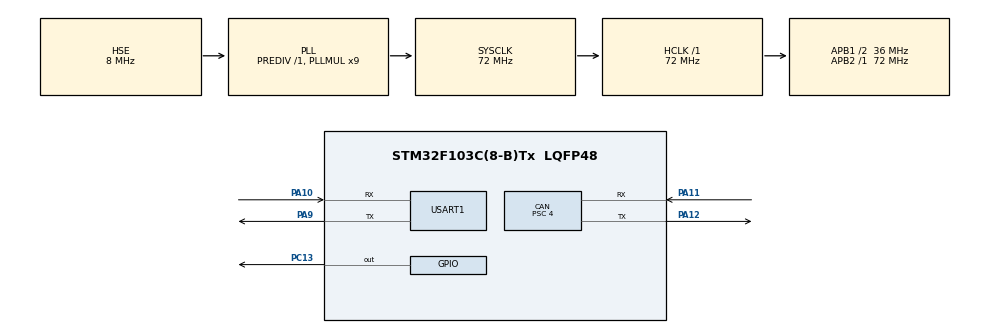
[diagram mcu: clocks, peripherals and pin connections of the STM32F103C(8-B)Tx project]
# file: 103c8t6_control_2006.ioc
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CAN.ABOM=ENABLE
CAN.AWUM=ENABLE
CAN.BS1=CAN_BS1_5TQ
CAN.BS2=CAN_BS2_3TQ
CAN.CalculateBaudRate=1000000
CAN.CalculateTimeBit=1000
CAN.CalculateTimeQuantum=111.11111111111111
CAN.NART=ENABLE
CAN.Prescaler=4
Mcu.Family=STM32F1
Mcu.Name=STM32F103C(8-B)Tx
Mcu.Package=LQFP48
NVIC.PriorityGroup=NVIC_PRIORITYGROUP_4
NVIC.USART1_IRQn=true\:0\:0\:true\:false\:true\:true\:true\:true
NVIC.USB_HP_CAN1_TX_IRQn=true\:2\:0\:true\:false\:true\:true\:true\:true
NVIC.USB_LP_CAN1_RX0_IRQn=true\:2\:0\:true\:false\:true\:true\:true\:true
PA10.Mode=Asynchronous
PA10.Signal=USART1_RX
PA11.Mode=CAN_Activate
PA11.Signal=CAN_RX
PA12.Mode=CAN_Activate
PA12.Signal=CAN_TX
PA13.Mode=Serial_Wire
PA13.Signal=SYS_JTMS-SWDIO
PA14.Mode=Serial_Wire
PA14.Signal=SYS_JTCK-SWCLK
PA9.Mode=Asynchronous
PA9.Signal=USART1_TX
PC13-TAMPER-RTC.Signal=GPIO_Output
PD0-OSC_IN.Mode=HSE-External-Oscillator
PD0-OSC_IN.Signal=RCC_OSC_IN
PD1-OSC_OUT.Mode=HSE-External-Oscillator
PD1-OSC_OUT.Signal=RCC_OSC_OUT
ProjectManager.HeapSize=0x200
ProjectManager.StackSize=0x400
ProjectManager.TargetToolchain=MDK-ARM V5
RCC.AHBFreq_Value=72000000
RCC.APB1CLKDivider=RCC_HCLK_DIV2
RCC.APB1Freq_Value=36000000
RCC.APB1TimFreq_Value=72000000
RCC.APB2Freq_Value=72000000
RCC.APB2TimFreq_Value=72000000
RCC.HCLKFreq_Value=72000000
RCC.PLLMUL=RCC_PLL_MUL9
RCC.PLLSourceVirtual=RCC_PLLSOURCE_HSE
RCC.SYSCLKFreq_VALUE=72000000
RCC.SYSCLKSource=RCC_SYSCLKSOURCE_PLLCLK
RCC.USBFreq_Value=72000000
USART1.VirtualMode=VM_ASYNC
board=custom

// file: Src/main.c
/* USER CODE BEGIN Header */
/**
  ******************************************************************************
  * @file           : main.c
  * @brief          : Main program body
  ******************************************************************************
  * @attention
  *
  * Copyright (c) 2024 STMicroelectronics.
  * All rights reserved.
  *
  * This software is licensed under terms that can be found in the LICENSE file
  * in the root directory of this software component.
  * If no LICENSE file comes with this software, it is provided AS-IS.
  *
  ******************************************************************************
  */
/* USER CODE END Header */
#include "main.h"
#include "can.h"
#include "usart.h"
#include "gpio.h"

/* USER CODE BEGIN Includes */
#include <stdio.h>
#include "stm32f1xx_hal.h"
#include "bsp_can.h"
#include "pid.h"
/* USER CODE END Includes */

/* USER CODE BEGIN PV */
PID_TypeDef motor_pid[4];
int16_t set_spd = 3000;
/* USER CODE END PV */

void SystemClock_Config(void);

int main(void)
{

  /* MCU Configuration--------------------------------------------------------*/

  /* Reset of all peripherals, Initializes the Flash interface and the Systick. */
  HAL_Init();

  /* Configure the system clock */
  SystemClock_Config();

  /* Initialize all configured peripherals */
  MX_GPIO_Init();
  MX_CAN_Init();
  MX_USART1_UART_Init();
  /* USER CODE BEGIN 2 */

  set_moto_current(&hcan, 0, 0, 0, 0);//所有电机初始化
  /*< 初始化PID参数 >*/
  for(int i=0; i<4; i++)
  {
    pid_init(&motor_pid[i], PID_Speed, 16384, 5000, 10, 0, 8000, 0, 1.5, 0.1, 0);
    get_moto_offset(&moto_unit[i]);//读取每个电机初始角
  }
  target_reset(&motor_pid[0], set_spd);
  /* USER CODE END 2 */

  /* Infinite loop */
  /* USER CODE BEGIN WHILE */
  while (1)
  {
    int16_t output = pid_calculate(&motor_pid[0], moto_unit[0].speed_rpm);    //根据设定值进行PID计算。
    set_moto_current(&hcan, output, 0, 0, 0);                                 //这里我们只操作第一个电机
    printf("%d,", moto_unit[0].speed_rpm);
    printf("%d\n", (int)motor_pid[0].target);
//    printf("%lf\n", moto_unit[0].real_current);
    HAL_Delay(10);
    /* USER CODE END WHILE */

  }
}

void SystemClock_Config(void)
{
  RCC_OscInitTypeDef RCC_OscInitStruct = {0};
  RCC_ClkInitTypeDef RCC_ClkInitStruct = {0};

  /** Initializes the RCC Oscillators according to the specified parameters
  * in the RCC_OscInitTypeDef structure.
  */
  RCC_OscInitStruct.OscillatorType = RCC_OSCILLATORTYPE_HSE;
  RCC_OscInitStruct.HSEState = RCC_HSE_ON;
  RCC_OscInitStruct.HSEPredivValue = RCC_HSE_PREDIV_DIV1;
  RCC_OscInitStruct.HSIState = RCC_HSI_ON;
  RCC_OscInitStruct.PLL.PLLState = RCC_PLL_ON;
  RCC_OscInitStruct.PLL.PLLSource = RCC_PLLSOURCE_HSE;
  RCC_OscInitStruct.PLL.PLLMUL = RCC_PLL_MUL9;
  if (HAL_RCC_OscConfig(&RCC_OscInitStruct) != HAL_OK)
  {
    Error_Handler();
  }

  /** Initializes the CPU, AHB and APB buses clocks
  */
  RCC_ClkInitStruct.ClockType = RCC_CLOCKTYPE_HCLK|RCC_CLOCKTYPE_SYSCLK
                              |RCC_CLOCKTYPE_PCLK1|RCC_CLOCKTYPE_PCLK2;
  RCC_ClkInitStruct.SYSCLKSource = RCC_SYSCLKSOURCE_PLLCLK;
  RCC_ClkInitStruct.AHBCLKDivider = RCC_SYSCLK_DIV1;
  RCC_ClkInitStruct.APB1CLKDivider = RCC_HCLK_DIV2;
  RCC_ClkInitStruct.APB2CLKDivider = RCC_HCLK_DIV1;

  if (HAL_RCC_ClockConfig(&RCC_ClkInitStruct, FLASH_LATENCY_2) != HAL_OK)
  {
    Error_Handler();
  }
}

void Error_Handler(void)
{
  __disable_irq();
  while (1)
  {
  }
}
